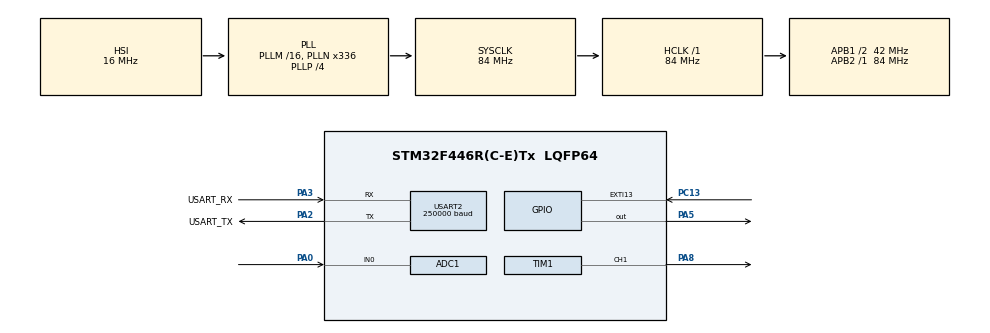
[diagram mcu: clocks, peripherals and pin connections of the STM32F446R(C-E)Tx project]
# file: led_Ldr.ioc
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ADC1.Channel-0\#ChannelRegularConversion=ADC_CHANNEL_0
ADC1.NbrOfConversionFlag=1
ADC1.Rank-0\#ChannelRegularConversion=1
ADC1.SamplingTime-0\#ChannelRegularConversion=ADC_SAMPLETIME_3CYCLES
ADC1.master=1
Mcu.Family=STM32F4
Mcu.Name=STM32F446R(C-E)Tx
Mcu.Package=LQFP64
NUCLEO-F446RE.BUTTON=1
NUCLEO-F446RE.LD1=true
NVIC.EXTI15_10_IRQn=true\:0\:0\:false\:false\:true\:false\:true\:true
NVIC.PriorityGroup=NVIC_PRIORITYGROUP_0
PA0-WKUP.Signal=ADCx_IN0
PA13.GPIO_Label=TMS
PA13.Signal=SYS_JTMS-SWDIO
PA14.GPIO_Label=TCK
PA14.Signal=SYS_JTCK-SWCLK
PA2.GPIO_Label=USART_TX
PA2.Mode=Asynchronous
PA2.Signal=USART2_TX
PA3.GPIO_Label=USART_RX
PA3.Mode=Asynchronous
PA3.Signal=USART2_RX
PA5.Signal=GPIO_Output
PA8.Signal=S_TIM1_CH1
PB3.GPIO_Label=SWO
PB3.Signal=SYS_JTDO-SWO
PC13.Signal=GPXTI13
PC14-OSC32_IN.Signal=RCC_OSC32_IN
PC15-OSC32_OUT.Signal=RCC_OSC32_OUT
PH0-OSC_IN.Signal=RCC_OSC_IN
PH1-OSC_OUT.Signal=RCC_OSC_OUT
ProjectManager.HeapSize=0x200
ProjectManager.StackSize=0x400
ProjectManager.TargetToolchain=CMake
RCC.AHBFreq_Value=84000000
RCC.APB1CLKDivider=RCC_HCLK_DIV2
RCC.APB1Freq_Value=42000000
RCC.APB1TimFreq_Value=84000000
RCC.APB2Freq_Value=84000000
RCC.APB2TimFreq_Value=84000000
RCC.CortexFreq_Value=84000000
RCC.FLatency-AdvancedSettings=FLASH_LATENCY_2
RCC.HCLKFreq_Value=84000000
RCC.HSE_VALUE=8000000
RCC.HSI_VALUE=16000000
RCC.LSE_VALUE=32768
RCC.PLLN=336
RCC.PLLP=RCC_PLLP_DIV4
RCC.SYSCLKFreq_VALUE=84000000
RCC.SYSCLKSource=RCC_SYSCLKSOURCE_PLLCLK
RCC.USBFreq_Value=168000000
RCC.VCOOutputFreq_Value=336000000
SH.ADCx_IN0.0=ADC1_IN0,IN0
SH.S_TIM1_CH1.0=TIM1_CH1,PWM Generation1 CH1
TIM1.Channel-PWM\ Generation1\ CH1=TIM_CHANNEL_1
TIM1.Period=999
TIM1.Prescaler=83
USART2.BaudRate=250000
USART2.VirtualMode=VM_ASYNC
VP_NUCLEO-F446RE_VS_BSP_COMMON.Mode=COMMON
VP_TIM1_VS_ClockSourceINT.Mode=Internal
board=NUCLEO-F446RE

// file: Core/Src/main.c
/* USER CODE BEGIN Header */
/**
  ******************************************************************************
  * @file           : main.c
  * @brief          : Main program body
  ******************************************************************************
  * @attention
  *
  * Copyright (c) 2026 STMicroelectronics.
  * All rights reserved.
  *
  * This software is licensed under terms that can be found in the LICENSE file
  * in the root directory of this software component.
  * If no LICENSE file comes with this software, it is provided AS-IS.
  *
  ******************************************************************************
  */
/* USER CODE END Header */
#include "main.h"

/* USER CODE BEGIN Includes */
#include "stdio.h"
/* USER CODE END Includes */

/* USER CODE BEGIN PTD */
typedef struct
{
  float x;
  float y;
  float y_prev;
  float dt;
  float tau;
  float alpha;
  float x_prev;
  float a;
  float b;
} LowPassFilter;
/* USER CODE END PTD */

/* USER CODE BEGIN PD */
void filter_init(LowPassFilter* f, float dt, float tau) {
    f->dt = dt;
    f->tau = tau;
    f->alpha = dt / (tau + dt);
    f->y_prev = 0.0f;
    f->y = 0.0f;
    f->x = 0.0f;
    f->x_prev = 0.0f;
    f->a = (2*f->tau - f->dt) / (2*f->tau + f->dt);
    f->b = f->dt / (2*f->tau + f->dt);
}

float filter_update(LowPassFilter* f, float x) {
    f->x = x;
    f->y = f->a*f->y_prev + f->b*(f->x + f->x_prev);
    f->y_prev = f->y;
    f->x_prev = f->x;
    return f->y;
}
/* USER CODE END PD */

ADC_HandleTypeDef hadc1;

TIM_HandleTypeDef htim1;

UART_HandleTypeDef huart2;
LowPassFilter filter;

void SystemClock_Config(void);
static void MX_GPIO_Init(void);
static void MX_ADC1_Init(void);
static void MX_TIM1_Init(void);
static void MX_USART2_UART_Init(void);

/* USER CODE BEGIN 0 */
int __io_putchar(int ch) {
    HAL_UART_Transmit(&huart2, (uint8_t*)&ch, 1, HAL_MAX_DELAY);
    return ch;
}
float measure_voltage() {
    float v = 0;
    uint16_t adc_value = 0;
    HAL_ADC_Start(&hadc1); // Start ADC conversion
    if(HAL_ADC_PollForConversion(&hadc1, HAL_MAX_DELAY) == HAL_OK) {
        adc_value = HAL_ADC_GetValue(&hadc1); // Get ADC value
        v = (adc_value * 3.3f) / 4095.0f; // Convert ADC value to voltage (assuming 12-bit ADC and 3.3V reference)
    }
    HAL_ADC_Stop(&hadc1); // Stop ADC conversion
    return v;
}

/* USER CODE END 0 */

int main(void)
{

  /* MCU Configuration--------------------------------------------------------*/

  /* Reset of all peripherals, Initializes the Flash interface and the Systick. */
  HAL_Init();

  /* USER CODE BEGIN Init */
  filter_init(&filter, 0.01f,
              0.1f); // Initialize low-pass filter with dt=0.01s and tau=0.1s

  /* USER CODE END Init */

  /* Configure the system clock */
  SystemClock_Config();

  /* Initialize all configured peripherals */
  MX_GPIO_Init();
  MX_ADC1_Init();
  MX_TIM1_Init();
  MX_USART2_UART_Init();
  /* USER CODE BEGIN 2 */
  HAL_TIM_PWM_Start(&htim1, TIM_CHANNEL_1); // Start PWM on TIM1 Channel 1
  /* USER CODE END 2 */

  /* Initialize leds */
  BSP_LED_Init(LED2);

  /* Initialize USER push-button, will be used to trigger an interrupt each time it's pressed.*/
  BSP_PB_Init(BUTTON_USER, BUTTON_MODE_EXTI);

  /* Infinite loop */
  /* USER CODE BEGIN WHILE */
  while (1) {

    float v = 0;
    float v_filtered = 0;
    v = measure_voltage(); // Measure voltage using ADC
    v_filtered = filter_update(&filter, v); // Apply low-pass filter to the measured voltage
    printf( "%0.2f,%0.2f\n", v, v_filtered); // Convert voltage to string with 2 decimal places
    HAL_Delay(10); // Delay for 100ms and dt = 0.01s
    /* USER CODE END WHILE */

  }
}

void SystemClock_Config(void)
{
  RCC_OscInitTypeDef RCC_OscInitStruct = {0};
  RCC_ClkInitTypeDef RCC_ClkInitStruct = {0};

  /** Configure the main internal regulator output voltage
  */
  __HAL_RCC_PWR_CLK_ENABLE();
  __HAL_PWR_VOLTAGESCALING_CONFIG(PWR_REGULATOR_VOLTAGE_SCALE3);

  /** Initializes the RCC Oscillators according to the specified parameters
  * in the RCC_OscInitTypeDef structure.
  */
  RCC_OscInitStruct.OscillatorType = RCC_OSCILLATORTYPE_HSI;
  RCC_OscInitStruct.HSIState = RCC_HSI_ON;
  RCC_OscInitStruct.HSICalibrationValue = RCC_HSICALIBRATION_DEFAULT;
  RCC_OscInitStruct.PLL.PLLState = RCC_PLL_ON;
  RCC_OscInitStruct.PLL.PLLSource = RCC_PLLSOURCE_HSI;
  RCC_OscInitStruct.PLL.PLLM = 16;
  RCC_OscInitStruct.PLL.PLLN = 336;
  RCC_OscInitStruct.PLL.PLLP = RCC_PLLP_DIV4;
  RCC_OscInitStruct.PLL.PLLQ = 2;
  RCC_OscInitStruct.PLL.PLLR = 2;
  if (HAL_RCC_OscConfig(&RCC_OscInitStruct) != HAL_OK)
  {
    Error_Handler();
  }

  /** Initializes the CPU, AHB and APB buses clocks
  */
  RCC_ClkInitStruct.ClockType = RCC_CLOCKTYPE_HCLK|RCC_CLOCKTYPE_SYSCLK
                              |RCC_CLOCKTYPE_PCLK1|RCC_CLOCKTYPE_PCLK2;
  RCC_ClkInitStruct.SYSCLKSource = RCC_SYSCLKSOURCE_PLLCLK;
  RCC_ClkInitStruct.AHBCLKDivider = RCC_SYSCLK_DIV1;
  RCC_ClkInitStruct.APB1CLKDivider = RCC_HCLK_DIV2;
  RCC_ClkInitStruct.APB2CLKDivider = RCC_HCLK_DIV1;

  if (HAL_RCC_ClockConfig(&RCC_ClkInitStruct, FLASH_LATENCY_2) != HAL_OK)
  {
    Error_Handler();
  }
}

static void MX_ADC1_Init(void)
{

  ADC_ChannelConfTypeDef sConfig = {0};

  /** Configure the global features of the ADC (Clock, Resolution, Data Alignment and number of conversion)
  */
  hadc1.Instance = ADC1;
  hadc1.Init.ClockPrescaler = ADC_CLOCK_SYNC_PCLK_DIV4;
  hadc1.Init.Resolution = ADC_RESOLUTION_12B;
  hadc1.Init.ScanConvMode = DISABLE;
  hadc1.Init.ContinuousConvMode = DISABLE;
  hadc1.Init.DiscontinuousConvMode = DISABLE;
  hadc1.Init.ExternalTrigConvEdge = ADC_EXTERNALTRIGCONVEDGE_NONE;
  hadc1.Init.ExternalTrigConv = ADC_SOFTWARE_START;
  hadc1.Init.DataAlign = ADC_DATAALIGN_RIGHT;
  hadc1.Init.NbrOfConversion = 1;
  hadc1.Init.DMAContinuousRequests = DISABLE;
  hadc1.Init.EOCSelection = ADC_EOC_SINGLE_CONV;
  if (HAL_ADC_Init(&hadc1) != HAL_OK)
  {
    Error_Handler();
  }

  /** Configure for the selected ADC regular channel its corresponding rank in the sequencer and its sample time.
  */
  sConfig.Channel = ADC_CHANNEL_0;
  sConfig.Rank = 1;
  sConfig.SamplingTime = ADC_SAMPLETIME_3CYCLES;
  if (HAL_ADC_ConfigChannel(&hadc1, &sConfig) != HAL_OK)
  {
    Error_Handler();
  }

}

static void MX_TIM1_Init(void)
{

  TIM_ClockConfigTypeDef sClockSourceConfig = {0};
  TIM_MasterConfigTypeDef sMasterConfig = {0};
  TIM_OC_InitTypeDef sConfigOC = {0};
  TIM_BreakDeadTimeConfigTypeDef sBreakDeadTimeConfig = {0};

  htim1.Instance = TIM1;
  htim1.Init.Prescaler = 83;
  htim1.Init.CounterMode = TIM_COUNTERMODE_UP;
  htim1.Init.Period = 999;
  htim1.Init.ClockDivision = TIM_CLOCKDIVISION_DIV1;
  htim1.Init.RepetitionCounter = 0;
  htim1.Init.AutoReloadPreload = TIM_AUTORELOAD_PRELOAD_DISABLE;
  if (HAL_TIM_Base_Init(&htim1) != HAL_OK)
  {
    Error_Handler();
  }
  sClockSourceConfig.ClockSource = TIM_CLOCKSOURCE_INTERNAL;
  if (HAL_TIM_ConfigClockSource(&htim1, &sClockSourceConfig) != HAL_OK)
  {
    Error_Handler();
  }
  if (HAL_TIM_PWM_Init(&htim1) != HAL_OK)
  {
    Error_Handler();
  }
  sMasterConfig.MasterOutputTrigger = TIM_TRGO_RESET;
  sMasterConfig.MasterSlaveMode = TIM_MASTERSLAVEMODE_DISABLE;
  if (HAL_TIMEx_MasterConfigSynchronization(&htim1, &sMasterConfig) != HAL_OK)
  {
    Error_Handler();
  }
  sConfigOC.OCMode = TIM_OCMODE_PWM1;
  sConfigOC.Pulse = 0;
  sConfigOC.OCPolarity = TIM_OCPOLARITY_HIGH;
  sConfigOC.OCNPolarity = TIM_OCNPOLARITY_HIGH;
  sConfigOC.OCFastMode = TIM_OCFAST_DISABLE;
  sConfigOC.OCIdleState = TIM_OCIDLESTATE_RESET;
  sConfigOC.OCNIdleState = TIM_OCNIDLESTATE_RESET;
  if (HAL_TIM_PWM_ConfigChannel(&htim1, &sConfigOC, TIM_CHANNEL_1) != HAL_OK)
  {
    Error_Handler();
  }
  sBreakDeadTimeConfig.OffStateRunMode = TIM_OSSR_DISABLE;
  sBreakDeadTimeConfig.OffStateIDLEMode = TIM_OSSI_DISABLE;
  sBreakDeadTimeConfig.LockLevel = TIM_LOCKLEVEL_OFF;
  sBreakDeadTimeConfig.DeadTime = 0;
  sBreakDeadTimeConfig.BreakState = TIM_BREAK_DISABLE;
  sBreakDeadTimeConfig.BreakPolarity = TIM_BREAKPOLARITY_HIGH;
  sBreakDeadTimeConfig.AutomaticOutput = TIM_AUTOMATICOUTPUT_DISABLE;
  if (HAL_TIMEx_ConfigBreakDeadTime(&htim1, &sBreakDeadTimeConfig) != HAL_OK)
  {
    Error_Handler();
  }
  HAL_TIM_MspPostInit(&htim1);

}

static void MX_USART2_UART_Init(void)
{

  huart2.Instance = USART2;
  huart2.Init.BaudRate = 115200;
  huart2.Init.WordLength = UART_WORDLENGTH_8B;
  huart2.Init.StopBits = UART_STOPBITS_1;
  huart2.Init.Parity = UART_PARITY_NONE;
  huart2.Init.Mode = UART_MODE_TX_RX;
  huart2.Init.HwFlowCtl = UART_HWCONTROL_NONE;
  huart2.Init.OverSampling = UART_OVERSAMPLING_16;
  if (HAL_UART_Init(&huart2) != HAL_OK)
  {
    Error_Handler();
  }

}

static void MX_GPIO_Init(void)
{

  /* GPIO Ports Clock Enable */
  __HAL_RCC_GPIOC_CLK_ENABLE();
  __HAL_RCC_GPIOH_CLK_ENABLE();
  __HAL_RCC_GPIOA_CLK_ENABLE();
  __HAL_RCC_GPIOB_CLK_ENABLE();

}

void Error_Handler(void)
{
  __disable_irq();
  while (1)
  {
  }
}
